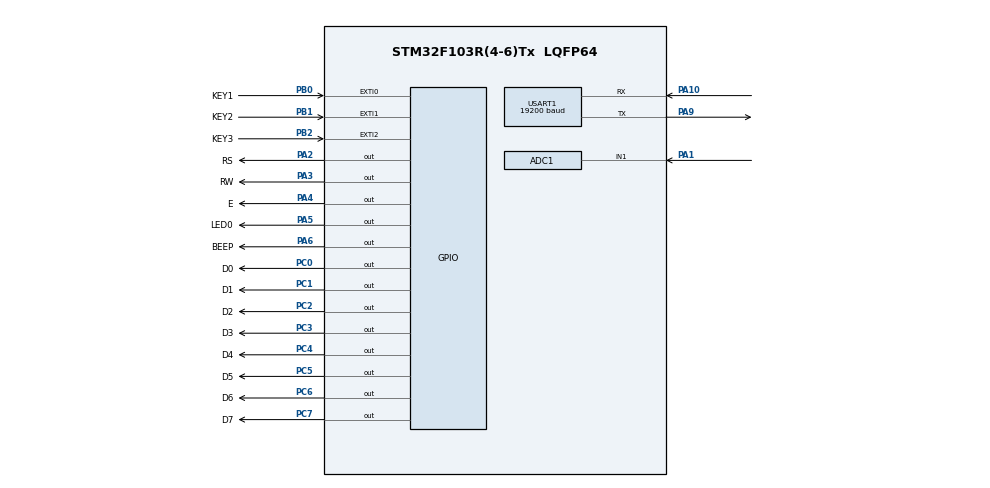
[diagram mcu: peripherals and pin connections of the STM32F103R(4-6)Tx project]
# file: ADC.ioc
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ADC1.Channel-0\#ChannelRegularConversion=ADC_CHANNEL_1
ADC1.NbrOfConversion=1
ADC1.NbrOfConversionFlag=1
ADC1.Rank-0\#ChannelRegularConversion=1
ADC1.SamplingTime-0\#ChannelRegularConversion=ADC_SAMPLETIME_1CYCLE_5
ADC1.master=1
Mcu.Family=STM32F1
Mcu.Name=STM32F103R(4-6)Tx
Mcu.Package=LQFP64
NVIC.ADC1_2_IRQn=true\:0\:0\:true\:false\:true\:true\:true\:true
NVIC.EXTI0_IRQn=true\:3\:3\:true\:false\:true\:true\:true\:true
NVIC.EXTI1_IRQn=true\:2\:2\:true\:false\:true\:true\:true\:true
NVIC.EXTI2_IRQn=true\:1\:1\:true\:false\:true\:true\:true\:true
NVIC.PriorityGroup=NVIC_PRIORITYGROUP_2
NVIC.TIM3_IRQn=true\:0\:2\:false\:false\:true\:true\:true\:true
NVIC.USART1_IRQn=true\:0\:1\:false\:false\:true\:true\:true\:true
PA1.Signal=ADCx_IN1
PA10.Mode=Asynchronous
PA10.Signal=USART1_RX
PA2.GPIO_Label=RS
PA2.PinState=GPIO_PIN_SET
PA2.Signal=GPIO_Output
PA3.GPIO_Label=RW
PA3.GPIO_ModeDefaultOutputPP=GPIO_MODE_OUTPUT_PP
PA3.GPIO_PuPd=GPIO_NOPULL
PA3.GPIO_Speed=GPIO_SPEED_FREQ_LOW
PA3.PinState=GPIO_PIN_SET
PA3.Signal=GPIO_Output
PA4.GPIO_Label=E
PA4.GPIO_ModeDefaultOutputPP=GPIO_MODE_OUTPUT_PP
PA4.GPIO_PuPd=GPIO_NOPULL
PA4.GPIO_Speed=GPIO_SPEED_FREQ_LOW
PA4.PinState=GPIO_PIN_SET
PA4.Signal=GPIO_Output
PA5.GPIO_Label=LED0
PA5.Signal=GPIO_Output
PA6.GPIO_Label=BEEP
PA6.PinState=GPIO_PIN_SET
PA6.Signal=GPIO_Output
PA9.Mode=Asynchronous
PA9.Signal=USART1_TX
PB0.GPIO_Label=KEY1
PB0.GPIO_ModeDefaultEXTI=GPIO_MODE_IT_FALLING
PB0.GPIO_PuPd=GPIO_NOPULL
PB0.Signal=GPXTI0
PB1.GPIO_Label=KEY2
PB1.GPIO_ModeDefaultEXTI=GPIO_MODE_IT_FALLING
PB1.Signal=GPXTI1
PB2.GPIO_Label=KEY3
PB2.GPIO_ModeDefaultEXTI=GPIO_MODE_IT_FALLING
PB2.Signal=GPXTI2
PC0.GPIO_Label=D0
PC0.GPIO_ModeDefaultOutputPP=GPIO_MODE_OUTPUT_PP
PC0.GPIO_PuPd=GPIO_NOPULL
PC0.GPIO_Speed=GPIO_SPEED_FREQ_LOW
PC0.PinState=GPIO_PIN_SET
PC0.Signal=GPIO_Output
PC1.GPIO_Label=D1
PC1.GPIO_ModeDefaultOutputPP=GPIO_MODE_OUTPUT_PP
PC1.GPIO_PuPd=GPIO_NOPULL
PC1.GPIO_Speed=GPIO_SPEED_FREQ_LOW
PC1.PinState=GPIO_PIN_SET
PC1.Signal=GPIO_Output
PC2.GPIO_Label=D2
PC2.GPIO_ModeDefaultOutputPP=GPIO_MODE_OUTPUT_PP
PC2.GPIO_PuPd=GPIO_NOPULL
PC2.GPIO_Speed=GPIO_SPEED_FREQ_LOW
PC2.PinState=GPIO_PIN_SET
PC2.Signal=GPIO_Output
PC3.GPIO_Label=D3
PC3.GPIO_ModeDefaultOutputPP=GPIO_MODE_OUTPUT_PP
PC3.GPIO_PuPd=GPIO_NOPULL
PC3.GPIO_Speed=GPIO_SPEED_FREQ_LOW
PC3.PinState=GPIO_PIN_SET
PC3.Signal=GPIO_Output
PC4.GPIO_Label=D4
PC4.GPIO_ModeDefaultOutputPP=GPIO_MODE_OUTPUT_PP
PC4.GPIO_PuPd=GPIO_NOPULL
PC4.GPIO_Speed=GPIO_SPEED_FREQ_LOW
PC4.PinState=GPIO_PIN_SET
PC4.Signal=GPIO_Output
PC5.GPIO_Label=D5
PC5.GPIO_ModeDefaultOutputPP=GPIO_MODE_OUTPUT_PP
PC5.GPIO_PuPd=GPIO_NOPULL
PC5.GPIO_Speed=GPIO_SPEED_FREQ_LOW
PC5.PinState=GPIO_PIN_SET
PC5.Signal=GPIO_Output
PC6.GPIO_Label=D6
PC6.GPIO_ModeDefaultOutputPP=GPIO_MODE_OUTPUT_PP
PC6.GPIO_PuPd=GPIO_NOPULL
PC6.GPIO_Speed=GPIO_SPEED_FREQ_LOW
PC6.PinState=GPIO_PIN_SET
PC6.Signal=GPIO_Output
PC7.GPIO_Label=D7
PC7.GPIO_ModeDefaultOutputPP=GPIO_MODE_OUTPUT_PP
PC7.GPIO_PuPd=GPIO_NOPULL
PC7.GPIO_Speed=GPIO_SPEED_FREQ_LOW
PC7.PinState=GPIO_PIN_SET
PC7.Signal=GPIO_Output
ProjectManager.HeapSize=0x200
ProjectManager.StackSize=0x400
ProjectManager.TargetToolchain=MDK-ARM V5.32
RCC.APB1Freq_Value=8000000
RCC.APB2Freq_Value=8000000
SH.ADCx_IN1.0=ADC1_IN1,IN1
TIM3.Period=999
TIM3.Prescaler=399
USART1.BaudRate=19200
USART1.VirtualMode=VM_ASYNC
VP_SYS_VS_ND.Mode=No_Debug
VP_TIM3_VS_ClockSourceINT.Mode=Internal
board=custom

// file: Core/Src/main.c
/* USER CODE BEGIN Header */
/**
  ******************************************************************************
  * @file           : main.c
  * @brief          : Main program body
  ******************************************************************************
  * @attention
  *
  * Copyright (c) 2022 STMicroelectronics.
  * All rights reserved.
  *
  * This software is licensed under terms that can be found in the LICENSE file
  * in the root directory of this software component.
  * If no LICENSE file comes with this software, it is provided AS-IS.
  *
  ******************************************************************************
  */
/* USER CODE END Header */
#include "main.h"
#include "adc.h"
#include "tim.h"
#include "usart.h"
#include "gpio.h"

/* USER CODE BEGIN Includes */
#include "lcd1602.h"
#include "stdio.h"
/* USER CODE END Includes */

/* USER CODE BEGIN PM */
	uint16_t Tim_cnt = 0;  //定时器变量
	uint8_t set_flag = 0;
	float warming_val=200;	//报警浓度大小
/* USER CODE END PM */

void SystemClock_Config(void);

int main(void)
{
  /* USER CODE BEGIN 1 */
	ADC_ChannelConfTypeDef sConfig = {0};  //建立sConfig结构体
	char str[20];  //字符串的存放数组
	uint32_t adcv; //存放ADC转换结果
	float temp;
	set_flag = 0;

  /* USER CODE END 1 */

  /* MCU Configuration--------------------------------------------------------*/

  /* Reset of all peripherals, Initializes the Flash interface and the Systick. */
  HAL_Init();

  /* USER CODE BEGIN Init */
	sConfig.Rank = ADC_REGULAR_RANK_1;
	sConfig.SamplingTime = ADC_SAMPLETIME_1CYCLE_5;   //采样周期为1.5个周期
  /* USER CODE END Init */

  /* Configure the system clock */
  SystemClock_Config();

  /* Initialize all configured peripherals */
  MX_GPIO_Init();
  MX_ADC1_Init();
  MX_USART1_UART_Init();
  MX_TIM3_Init();
  /* USER CODE BEGIN 2 */
	LCD_Init();  //初始化LCD1602
	HAL_TIM_Base_Start_IT(&htim3);//开启定时器3
//	LCD_ShowString(0,0,dis_str);
  /* USER CODE END 2 */

  /* Infinite loop */
  /* USER CODE BEGIN WHILE */
  while (1)
  {
		sConfig.Channel = ADC_CHANNEL_1;   //选择通道1
		HAL_ADC_ConfigChannel(&hadc1, &sConfig);  //选择ADC1的通道道1
		HAL_ADC_Start(&hadc1);										//启动ADC1
		HAL_ADC_PollForConversion(&hadc1, 10);		//等待ADC1转换结束，超时设定为10ms
		adcv = HAL_ADC_GetValue(&hadc1);					//读取ADC1的转换结果

		temp=(float)adcv*(4.0/4095)*100;

		sprintf(str,"%4.0fppm",temp);
		LCD_ShowString(0,0,"MV:");
		LCD_ShowString(0,4,str);
	  HAL_UART_Transmit(&huart1, (uint8_t *)&"AL=", 3, 10);  //串口1发送字符串，数组长度为12，超时10ms
		HAL_UART_Transmit(&huart1, (uint8_t *)str, 6, 10);		 //串口1发送字符串，数组长度为5，超时10ms
		HAL_UART_Transmit(&huart1, (uint8_t *)&"\n\r", 2, 10); //串口1发送字符串，数组长度为2，超时10ms

		if(set_flag){//设置模式
			sprintf(str,"%4.0fppm^ ",warming_val);
			LCD_ShowString(1,0,"ALM:");
			LCD_ShowString(1,4,str);
		}else{
			sprintf(str,"%4.0fppm  ",warming_val);
			LCD_ShowString(1,0,"ALM:");
			LCD_ShowString(1,4,str);
		}

	  HAL_UART_Transmit(&huart1, (uint8_t *)&"ALM=", 4, 10);  //串口1发送字符串，数组长度为12，超时10ms
		HAL_UART_Transmit(&huart1, (uint8_t *)str, 6, 10);								//串口1发送字符串，数组长度为5，超时10ms
		HAL_UART_Transmit(&huart1, (uint8_t *)&"\n\r", 2, 10);						//串口1发送字符串，数组长度为2，超时10ms

		if(temp>warming_val&&!set_flag){//如果超过报警值
			HAL_GPIO_WritePin(GPIOA,BEEP_Pin, GPIO_PIN_RESET);//BEEP引脚拉低
		}else{
			HAL_GPIO_WritePin(GPIOA,BEEP_Pin, GPIO_PIN_SET);
		}

		HAL_ADC_Stop(&hadc1);											//停止ADC1
		HAL_Delay(300);
    /* USER CODE END WHILE */

  }
}

void SystemClock_Config(void)
{
  RCC_OscInitTypeDef RCC_OscInitStruct = {0};
  RCC_ClkInitTypeDef RCC_ClkInitStruct = {0};
  RCC_PeriphCLKInitTypeDef PeriphClkInit = {0};

  /** Initializes the RCC Oscillators according to the specified parameters
  * in the RCC_OscInitTypeDef structure.
  */
  RCC_OscInitStruct.OscillatorType = RCC_OSCILLATORTYPE_HSI;
  RCC_OscInitStruct.HSIState = RCC_HSI_ON;
  RCC_OscInitStruct.HSICalibrationValue = RCC_HSICALIBRATION_DEFAULT;
  RCC_OscInitStruct.PLL.PLLState = RCC_PLL_NONE;
  if (HAL_RCC_OscConfig(&RCC_OscInitStruct) != HAL_OK)
  {
    Error_Handler();
  }

  /** Initializes the CPU, AHB and APB buses clocks
  */
  RCC_ClkInitStruct.ClockType = RCC_CLOCKTYPE_HCLK|RCC_CLOCKTYPE_SYSCLK
                              |RCC_CLOCKTYPE_PCLK1|RCC_CLOCKTYPE_PCLK2;
  RCC_ClkInitStruct.SYSCLKSource = RCC_SYSCLKSOURCE_HSI;
  RCC_ClkInitStruct.AHBCLKDivider = RCC_SYSCLK_DIV1;
  RCC_ClkInitStruct.APB1CLKDivider = RCC_HCLK_DIV1;
  RCC_ClkInitStruct.APB2CLKDivider = RCC_HCLK_DIV1;

  if (HAL_RCC_ClockConfig(&RCC_ClkInitStruct, FLASH_LATENCY_0) != HAL_OK)
  {
    Error_Handler();
  }
  PeriphClkInit.PeriphClockSelection = RCC_PERIPHCLK_ADC;
  PeriphClkInit.AdcClockSelection = RCC_ADCPCLK2_DIV2;
  if (HAL_RCCEx_PeriphCLKConfig(&PeriphClkInit) != HAL_OK)
  {
    Error_Handler();
  }
}

/* USER CODE BEGIN 4 */
void HAL_TIM_PeriodElapsedCallback(TIM_HandleTypeDef *htim)
{
if (htim->Instance == htim3.Instance)
	{
		Tim_cnt++;
		if(Tim_cnt==5)  //2.5ms进一次
		{
			Tim_cnt=0;   //请
			HAL_GPIO_TogglePin(LED0_GPIO_Port, LED0_Pin);
		}
	}

}
//中断处理
void HAL_GPIO_EXTI_Callback(uint16_t GPIO_Pin)
{
	 UNUSED(GPIO_Pin);
	if(GPIO_Pin == KEY1_Pin)  //测到EXTI0线产生外部中断事件
	{
		if(set_flag){
				set_flag = 0;
		}else{
				set_flag = 1;
		}
	}
	else if(GPIO_Pin == KEY2_Pin) //测到EXTI1线产生外部中断事件
	{
			if(set_flag){
				if(warming_val<390){//一次+10
					warming_val+=10;
				}
			}
	}	else if(GPIO_Pin == KEY3_Pin) //测到EXTI2线产生外部中断事件
	{
			if(set_flag){
				if(warming_val>10){//一次-10
					warming_val-=10;
				}
			}
	}

}

/* USER CODE END 4 */

void Error_Handler(void)
{
  __disable_irq();
  while (1)
  {
  }
}
